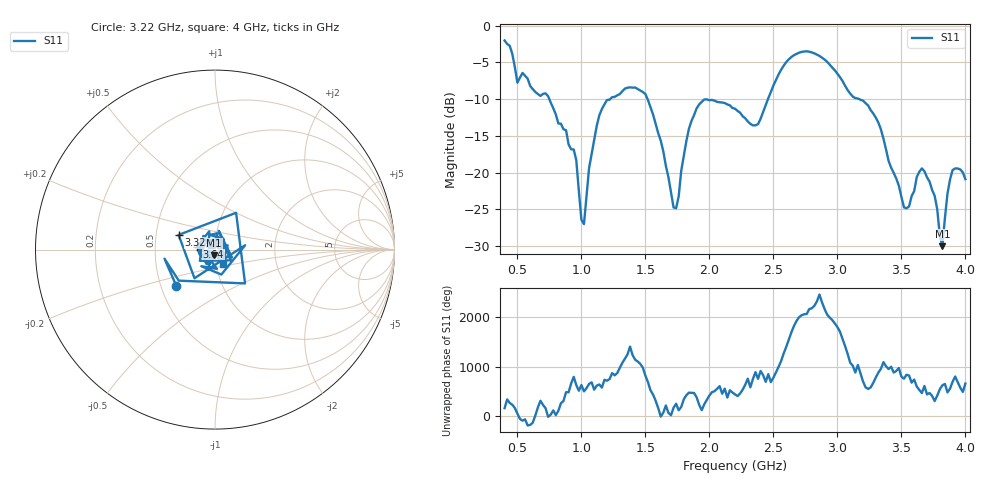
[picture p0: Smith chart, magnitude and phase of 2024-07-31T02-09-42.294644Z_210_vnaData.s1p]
!Created with skrf (http://scikit-rf.org).
# Hz S RI R 50.0
!freq ReS11 ImS11
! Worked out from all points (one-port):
!   181 points, 400 MHz to 4 GHz, reference 50 ohm
!   lowest |S11| = -30.0 dB at 3.82 GHz (marker M1), VSWR 1.07, Z = 49.5 - j3.1 ohm
!   |S11| at or under -10 dB: 748.9 MHz to 1.225 GHz (476.4 MHz wide, 48.3 % of centre); 1.517 GHz to 2.458 GHz (941.2 MHz wide, 47.4 % of centre); 3.168 GHz to end of sweep
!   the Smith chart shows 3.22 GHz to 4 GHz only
!   S11 on the Smith chart (normalised r, x): 3.22 GHz: 0.60, -0.27; 3.32 GHz: 0.66, +0.11; 3.64 GHz: 0.82, +0.03; 4 GHz: 1.07, -0.17
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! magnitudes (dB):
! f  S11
! 400 MHz  -2.0
! 500 MHz  -7.8
! 720 MHz  -9.2
! 860 MHz  -14.1
! 960 MHz  -18.3
! 1 GHz  -26.4
! 1.02 GHz  -27.0
! 1.06 GHz  -19.4
! 1.14 GHz  -12.2
! 1.3 GHz  -9.3
! 1.5 GHz  -9.3
! 1.72 GHz  -24.7
! 1.76 GHz  -23.3
! 1.82 GHz  -15.7
! 1.9 GHz  -11.3
! 2.2 GHz  -11.3
! 2.38 GHz  -13.4
! 2.66 GHz  -4.0
! 2.88 GHz  -4.4
! 3.1 GHz  -9.3
! 3.22 GHz  -10.6
! 3.32 GHz  -13.2
! 3.56 GHz  -24.6
! 3.64 GHz  -19.9
! 3.76 GHz  -23.2
! 3.82 GHz  -30.0
! 3.9 GHz  -19.7
! 4 GHz  -20.9
